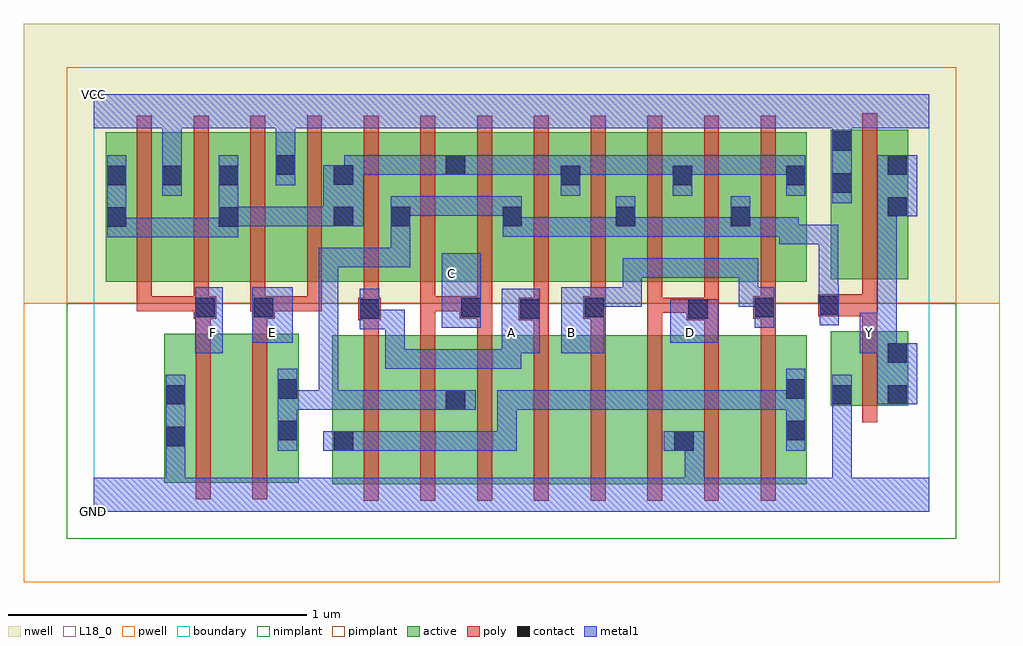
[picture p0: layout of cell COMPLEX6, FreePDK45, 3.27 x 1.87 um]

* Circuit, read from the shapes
.subckt COMPLEX6 A B C D E F GND VCC Y
M1 n1 F GND VSUBS nfet w=0.5u l=0.05u
M2 n2 E n1 VSUBS nfet w=0.5u l=0.05u
M3 n3 A n4 VSUBS nfet w=0.5u l=0.05u
M4 n2 C n3 VSUBS nfet w=0.5u l=0.05u
M5 n5 C n2 VSUBS nfet w=0.5u l=0.05u
M6 n6 A n5 VSUBS nfet w=0.5u l=0.05u
M7 n7 B n6 VSUBS nfet w=0.5u l=0.05u
M8 GND D n7 VSUBS nfet w=0.5u l=0.05u
M9 n8 D GND VSUBS nfet w=0.5u l=0.05u
M10 n4 B n8 VSUBS nfet w=0.5u l=0.05u
M11 Y n2 GND VSUBS nfet w=0.25u l=0.05u
M12 VCC F n9 n10 pfet w=0.5u l=0.05u m=2
M13 VCC E n9 n10 pfet w=0.5u l=0.05u m=2
M14 n2 A n9 n10 pfet w=0.5u l=0.05u m=2
M15 n9 C n2 n10 pfet w=0.5u l=0.05u m=2
M16 n2 B n9 n10 pfet w=0.5u l=0.05u m=2
M17 n9 D n2 n10 pfet w=0.5u l=0.05u m=2
M18 Y n2 VCC n10 pfet w=0.5u l=0.05u
.ends

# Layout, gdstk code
import gdstk
lib = gdstk.Library(unit=1e-6, precision=1e-09)
def R(c, l, rs):  # rectangles x0, y0, x1, y1
    for r in rs: c.add(gdstk.rectangle(r[:2], r[2:], *l))
def A(c, l, x, y, w, h, nx, ny, dx, dy):  # array of equal rectangles
    R(c, l, [(x+i*dx, y+j*dy, x+i*dx+w, y+j*dy+h) for i in range(nx) for j in range(ny)])
active = (1, 0)
pwell = (2, 0)
nwell = (3, 0)
nimplant = (4, 0)
pimplant = (5, 0)
poly = (9, 0)
contact = (10, 0)
metal1 = (11, 0)
L18_0 = (18, 0)
boundary = (235, 0)

complex6 = lib.new_cell('COMPLEX6')
A(complex6, active, 0.99, 0.772, 0.26, 0.5, 3, 1, 0.57, 0)
R(complex6, active, [(0.8,0.092,1.025,0.592), (1.025,0.092,1.25,0.592), (1.175,0.092,1.405,0.592), (1.405,0.092,1.595,0.592), (1.595,0.092,1.785,0.592), (1.785,0.092,2.015,0.592), (1.94,0.092,2.165,0.592), (1.94,0.092,2.015,0.377), (2.165,0.092,2.39,0.592), (0.237,0.097,0.462,0.597), (0.237,0.097,0.312,0.597), (0.462,0.097,0.687,0.597), (0.612,0.145,0.687,0.597), (0.8,0.145,0.905,0.592), (1.175,0.145,1.25,0.577), (2.315,0.145,2.39,0.592), (2.47,0.355,2.545,0.605), (2.47,0.355,2.73,0.605), (2.655,0.355,2.73,0.605), (0.04,0.772,0.3,1.272), (0.04,0.772,0.115,1.2), (0.225,0.772,0.49,1.272), (0.415,0.772,0.49,1.2), (0.415,0.772,0.68,1.272), (0.605,0.772,0.875,1.272), (0.8,0.772,1.065,1.272), (1.175,0.772,1.44,1.272), (1.365,0.772,1.635,1.272), (1.365,0.772,1.44,1.07), (1.745,0.772,2.01,1.272), (1.745,0.772,1.82,1.07), (1.935,0.772,2.205,1.272), (2.315,0.772,2.39,1.2), (2.47,0.78,2.545,1.28), (2.47,0.78,2.73,1.28), (2.655,0.78,2.73,1.2), (0.225,0.807,0.3,1.267), (0.605,0.807,0.68,1.272), (0.8,0.807,0.875,1.2), (0.99,0.807,1.065,1.07), (1.175,0.807,1.25,1.2), (1.56,0.807,1.635,1.2), (1.935,0.807,2.01,1.2), (2.13,0.807,2.205,1.07)])
R(complex6, pwell, [(-0.235,-0.235,3.035,0.7)])
R(complex6, nwell, [(-0.235,0.7,3.035,1.635)])
R(complex6, nimplant, [(-0.09,-0.09,2.89,0.7)])
R(complex6, pimplant, [(-0.09,0.7,2.89,1.49)])
A(complex6, poly, 0.905, 0.037, 0.05, 0.61, 8, 1, 0.19, 0)
A(complex6, poly, 0.905, 0.597, 0.05, 0.095, 3, 1, 0.57, 0)
A(complex6, poly, 0.145, 0.672, 0.05, 0.095, 4, 1, 0.19, 0)
A(complex6, poly, 0.145, 0.717, 0.05, 0.61, 12, 1, 0.19, 0)
R(complex6, poly, [(0.342,0.042,0.392,0.652), (0.532,0.042,0.582,0.652), (2.575,0.3,2.625,0.66), (1.095,0.597,1.145,0.722), (1.285,0.597,1.335,0.697), (1.665,0.597,1.715,0.697), (1.855,0.597,1.905,0.717), (2.235,0.597,2.285,0.697), (0.342,0.602,0.392,0.697), (0.532,0.602,0.582,0.697), (2.575,0.61,2.625,0.705), (0.887,0.642,0.962,0.717), (1.425,0.642,1.525,0.717), (1.987,0.642,2.095,0.717), (0.335,0.647,0.41,0.722), (0.342,0.647,0.392,0.697), (0.342,0.647,0.392,0.697), (0.532,0.647,0.607,0.722), (1.227,0.647,1.335,0.722), (1.285,0.647,1.335,0.697), (1.285,0.647,1.335,0.697), (1.64,0.647,1.715,0.722), (1.665,0.647,1.715,0.697), (1.665,0.647,1.715,0.697), (2.21,0.647,2.285,0.722), (2.235,0.647,2.285,0.697), (2.235,0.647,2.285,0.697), (2.427,0.655,2.625,0.73), (2.575,0.655,2.625,0.705), (2.575,0.655,2.625,0.705), (0.905,0.667,0.955,0.717), (0.905,0.667,0.955,0.717), (0.905,0.667,0.955,0.767), (1.475,0.667,1.525,0.717), (1.475,0.667,1.525,0.717), (1.475,0.667,1.525,0.767), (1.855,0.667,1.905,0.717), (1.855,0.667,1.905,0.717), (1.855,0.667,1.905,0.717), (1.855,0.667,1.905,0.767), (1.855,0.667,2.095,0.717), (2.045,0.667,2.095,0.717), (2.045,0.667,2.095,0.717), (2.045,0.667,2.095,0.717), (2.045,0.667,2.095,0.717), (2.045,0.667,2.095,0.767), (0.145,0.672,0.195,0.722), (0.145,0.672,0.195,0.722), (0.145,0.672,0.195,0.722), (0.145,0.672,0.385,0.722), (0.525,0.672,0.582,0.722), (0.532,0.672,0.582,0.722), (0.532,0.672,0.582,0.722), (0.532,0.672,0.582,0.722), (0.532,0.672,0.765,0.722), (0.715,0.672,0.765,0.722), (1.095,0.672,1.145,0.767), (1.095,0.672,1.145,0.722), (1.095,0.672,1.145,0.722), (1.095,0.672,1.145,0.722), (1.095,0.672,1.277,0.722), (1.227,0.672,1.277,0.722), (1.227,0.672,1.277,0.722), (1.285,0.672,1.335,0.767), (1.665,0.672,1.715,0.767), (2.235,0.672,2.285,0.767), (2.575,0.68,2.625,0.775), (2.575,0.725,2.625,1.335)])
R(complex6, contact, [(0.805,0.205,0.87,0.27), (1.945,0.205,2.01,0.27), (0.242,0.22,0.307,0.285), (0.617,0.24,0.682,0.305), (2.32,0.24,2.385,0.305), (1.18,0.342,1.245,0.407), (0.242,0.36,0.307,0.425), (2.475,0.36,2.54,0.425), (2.66,0.36,2.725,0.425), (0.617,0.38,0.682,0.445), (2.32,0.38,2.385,0.445), (2.66,0.5,2.725,0.565), (0.892,0.647,0.957,0.712), (1.43,0.647,1.495,0.712), (1.992,0.647,2.057,0.712), (0.34,0.652,0.405,0.717), (0.537,0.652,0.602,0.717), (1.232,0.652,1.297,0.717), (1.645,0.652,1.71,0.717), (2.215,0.652,2.28,0.717), (2.432,0.66,2.497,0.725), (0.045,0.955,0.11,1.02), (0.42,0.955,0.485,1.02), (0.805,0.957,0.87,1.022), (0.995,0.957,1.06,1.022), (1.37,0.957,1.435,1.022), (1.75,0.957,1.815,1.022), (2.135,0.957,2.2,1.022), (2.66,0.99,2.725,1.055), (2.475,1.07,2.54,1.135), (0.045,1.095,0.11,1.16), (0.23,1.095,0.295,1.16), (0.42,1.095,0.485,1.16), (1.565,1.095,1.63,1.16), (1.94,1.095,2.005,1.16), (2.32,1.095,2.385,1.16), (0.805,1.097,0.87,1.162), (0.61,1.13,0.675,1.195), (1.18,1.13,1.245,1.195), (2.66,1.13,2.725,1.195), (2.475,1.21,2.54,1.275)])
R(complex6, metal1, [(0,0,2.8,0.115), (0.242,0.05,0.307,0.25), (1.98,0.05,2.045,0.27), (2.475,0.05,2.54,0.39), (0.242,0.185,0.307,0.46), (0.617,0.205,0.682,0.48), (0.77,0.205,0.905,0.27), (0.84,0.205,0.905,0.27), (0.84,0.205,0.905,0.27), (0.84,0.205,1.042,0.27), (0.977,0.205,1.042,0.27), (0.977,0.205,1.095,0.27), (1.03,0.205,1.095,0.27), (1.03,0.205,1.28,0.27), (1.215,0.205,1.28,0.27), (1.215,0.205,1.28,0.27), (1.215,0.205,1.28,0.27), (1.215,0.205,1.417,0.27), (1.352,0.205,1.417,0.27), (1.352,0.205,1.417,0.407), (1.91,0.205,2.045,0.27), (2.32,0.205,2.385,0.48), (2.475,0.325,2.54,0.39), (2.475,0.325,2.54,0.39), (2.475,0.325,2.54,0.39), (2.475,0.325,2.54,0.39), (2.475,0.325,2.54,0.46), (0.617,0.342,0.682,0.407), (0.617,0.342,0.682,0.407), (0.617,0.342,0.82,0.407), (0.755,0.342,0.82,0.407), (0.755,0.342,0.82,0.407), (0.755,0.342,0.82,0.407), (0.755,0.342,0.82,0.407), (0.755,0.342,0.82,0.407), (0.755,0.342,1.042,0.407), (0.755,0.342,0.82,0.885), (0.977,0.342,1.042,0.407), (0.977,0.342,1.095,0.407), (1.03,0.342,1.095,0.407), (1.03,0.342,1.21,0.407), (1.145,0.342,1.28,0.407), (1.352,0.342,1.417,0.407), (1.352,0.342,1.417,0.407), (1.352,0.342,1.417,0.407), (1.352,0.342,1.572,0.407), (1.507,0.342,1.572,0.407), (1.507,0.342,1.572,0.407), (1.507,0.342,1.572,0.407), (1.507,0.342,1.837,0.407), (1.772,0.342,1.837,0.407), (1.772,0.342,1.847,0.407), (1.782,0.342,1.847,0.407), (1.782,0.342,2.062,0.407), (1.997,0.342,2.062,0.407), (1.997,0.342,2.062,0.407), (1.997,0.342,2.062,0.407), (1.997,0.342,2.225,0.407), (2.16,0.342,2.225,0.407), (2.16,0.342,2.225,0.407), (2.16,0.342,2.225,0.407), (2.16,0.342,2.385,0.407), (2.625,0.36,2.76,0.565), (0.977,0.48,1.095,0.545), (0.977,0.48,1.042,0.677), (1.03,0.48,1.095,0.545), (1.03,0.48,1.28,0.545), (1.215,0.48,1.28,0.545), (1.215,0.48,1.28,0.545), (1.215,0.48,1.28,0.545), (1.215,0.48,1.432,0.545), (1.367,0.48,1.432,0.597), (2.625,0.5,2.69,0.597), (0.34,0.532,0.432,0.752), (1.367,0.532,1.432,0.597), (1.367,0.532,1.495,0.747), (1.567,0.532,1.71,0.752), (2.567,0.532,2.69,0.667), (0.532,0.567,0.667,0.752), (1.932,0.567,2.092,0.712), (2.625,0.602,2.69,1.055), (2.625,0.602,2.69,0.667), (2.625,0.602,2.69,0.667), (0.892,0.612,0.957,0.747), (0.892,0.612,1.042,0.677), (1.167,0.617,1.297,0.867), (2.215,0.617,2.28,0.752), (2.432,0.625,2.497,0.76), (1.645,0.687,1.837,0.752), (1.772,0.687,1.837,0.85), (2.162,0.687,2.28,0.752), (2.162,0.687,2.227,0.85), (2.43,0.695,2.495,0.76), (2.43,0.695,2.497,0.76), (2.43,0.695,2.495,0.962), (1.772,0.785,1.847,0.85), (1.782,0.785,1.847,0.85), (1.782,0.785,2.062,0.85), (1.997,0.785,2.062,0.85), (1.997,0.785,2.062,0.85), (1.997,0.785,2.062,0.85), (1.997,0.785,2.227,0.85), (0.755,0.82,0.82,0.885), (0.755,0.82,0.82,0.885), (0.755,0.82,0.82,0.885), (0.755,0.82,1.06,0.885), (0.995,0.82,1.06,0.885), (0.995,0.82,1.06,0.987), (2.297,0.897,2.495,0.962), (2.297,0.897,2.362,0.987), (2.43,0.897,2.495,0.962), (0.045,0.92,0.11,0.985), (0.045,0.92,0.11,0.985), (0.045,0.92,0.11,1.195), (0.045,0.92,0.347,0.985), (0.282,0.92,0.347,0.985), (0.282,0.92,0.347,0.985), (0.282,0.92,0.347,0.985), (0.282,0.92,0.485,0.985), (0.42,0.92,0.485,1.195), (0.995,0.922,1.06,1.057), (1.37,0.922,1.435,0.987), (1.37,0.922,1.435,0.987), (1.37,0.922,1.435,1.057), (1.37,0.922,1.677,0.987), (1.612,0.922,1.677,0.987), (1.612,0.922,1.677,0.987), (1.612,0.922,1.677,0.987), (1.612,0.922,1.815,0.987), (1.75,0.922,1.815,1.057), (1.75,0.922,1.86,0.987), (1.795,0.922,1.86,0.987), (1.795,0.922,2.062,0.987), (1.997,0.922,2.062,0.987), (1.997,0.922,2.062,0.987), (1.997,0.922,2.062,0.987), (1.997,0.922,2.2,0.987), (2.135,0.922,2.2,0.987), (2.135,0.922,2.2,0.987), (2.135,0.922,2.2,1.057), (2.135,0.922,2.362,0.987), (0.42,0.957,0.485,1.022), (0.42,0.957,0.485,1.022), (0.42,0.957,0.622,1.022), (0.557,0.957,0.622,1.022), (0.557,0.957,0.622,1.022), (0.557,0.957,0.622,1.022), (0.557,0.957,0.835,1.022), (0.77,0.957,0.905,1.162), (2.625,0.99,2.76,1.195), (0.995,0.992,1.095,1.057), (1.03,0.992,1.095,1.057), (1.03,0.992,1.28,1.057), (1.215,0.992,1.28,1.057), (1.215,0.992,1.28,1.057), (1.215,0.992,1.28,1.057), (1.215,0.992,1.435,1.057), (2.475,1.035,2.54,1.31), (0.23,1.06,0.295,1.195), (1.565,1.06,1.63,1.195), (1.94,1.06,2.005,1.195), (2.32,1.06,2.385,1.195), (0.61,1.095,0.675,1.23), (0.84,1.097,0.905,1.195), (0.23,1.13,0.295,1.35), (0.84,1.13,0.905,1.195), (0.84,1.13,0.905,1.195), (0.84,1.13,0.905,1.195), (0.84,1.13,1.06,1.195), (0.995,1.13,1.06,1.195), (0.995,1.13,1.095,1.195), (1.03,1.13,1.095,1.195), (1.03,1.13,1.21,1.195), (1.145,1.13,1.28,1.195), (1.215,1.13,1.28,1.195), (1.215,1.13,1.28,1.195), (1.215,1.13,1.417,1.195), (1.352,1.13,1.417,1.195), (1.352,1.13,1.417,1.195), (1.352,1.13,1.417,1.195), (1.352,1.13,1.63,1.195), (1.565,1.13,1.63,1.195), (1.565,1.13,1.63,1.195), (1.565,1.13,1.837,1.195), (1.772,1.13,1.837,1.195), (1.772,1.13,1.847,1.195), (1.782,1.13,1.847,1.195), (1.782,1.13,2.005,1.195), (1.94,1.13,2.005,1.195), (1.94,1.13,2.005,1.195), (1.94,1.13,2.225,1.195), (2.16,1.13,2.225,1.195), (2.16,1.13,2.225,1.195), (2.16,1.13,2.225,1.195), (2.16,1.13,2.385,1.195), (0.61,1.165,0.675,1.35), (2.475,1.245,2.54,1.35), (0,1.285,2.8,1.4)])
R(complex6, L18_0, [(0,0,2.8,0.115), (0.242,0.05,0.307,0.25), (1.98,0.05,2.045,0.27), (2.475,0.05,2.54,0.39), (0.242,0.185,0.307,0.46), (1.91,0.205,2.045,0.27), (2.475,0.325,2.54,0.46), (2.475,0.325,2.54,0.39), (2.475,0.325,2.54,0.39), (2.475,0.325,2.54,0.39), (2.475,0.325,2.54,0.39), (2.625,0.36,2.76,0.565), (0.977,0.48,1.042,0.677), (0.977,0.48,1.095,0.545), (1.03,0.48,1.095,0.545), (1.03,0.48,1.28,0.545), (1.215,0.48,1.28,0.545), (1.215,0.48,1.28,0.545), (1.215,0.48,1.28,0.545), (1.215,0.48,1.432,0.545), (1.367,0.48,1.432,0.597), (2.625,0.5,2.69,0.597), (0.34,0.532,0.432,0.752), (1.367,0.532,1.432,0.597), (1.367,0.532,1.495,0.747), (1.567,0.532,1.71,0.752), (2.567,0.532,2.69,0.667), (0.367,0.567,0.432,0.632), (0.532,0.567,0.667,0.752), (0.567,0.567,0.632,0.632), (1.367,0.567,1.432,0.632), (1.567,0.567,1.632,0.632), (1.932,0.567,2.092,0.712), (1.967,0.567,2.032,0.632), (2.567,0.567,2.632,0.632), (2.625,0.602,2.69,0.667), (2.625,0.602,2.69,0.667), (2.625,0.602,2.69,1.055), (0.892,0.612,0.957,0.747), (0.892,0.612,1.042,0.677), (1.167,0.617,1.297,0.867), (2.215,0.617,2.28,0.752), (1.645,0.687,1.837,0.752), (1.772,0.687,1.837,0.85), (2.162,0.687,2.28,0.752), (2.162,0.687,2.227,0.85), (1.167,0.767,1.232,0.832), (1.772,0.785,1.847,0.85), (1.782,0.785,1.847,0.85), (1.782,0.785,2.062,0.85), (1.997,0.785,2.062,0.85), (1.997,0.785,2.062,0.85), (1.997,0.785,2.062,0.85), (1.997,0.785,2.227,0.85), (2.625,0.99,2.76,1.195), (2.475,1.035,2.54,1.31), (0.23,1.06,0.295,1.195), (0.61,1.095,0.675,1.23), (0.23,1.13,0.295,1.35), (0.61,1.165,0.675,1.35), (2.475,1.245,2.54,1.35), (0,1.285,2.8,1.4)])
R(complex6, boundary, [(0,0,2.8,1.4)])
complex6.add(gdstk.Label('A', (1.4,0.6), layer=11, texttype=0))
complex6.add(gdstk.Label('B', (1.6,0.6), layer=11, texttype=0))
complex6.add(gdstk.Label('C', (1.2,0.8), layer=11, texttype=0))
complex6.add(gdstk.Label('D', (2,0.6), layer=11, texttype=0))
complex6.add(gdstk.Label('E', (0.6,0.6), layer=11, texttype=0))
complex6.add(gdstk.Label('F', (0.4,0.6), layer=11, texttype=0))
complex6.add(gdstk.Label('Y', (2.6,0.6), layer=11, texttype=0))
complex6.add(gdstk.Label('VCC', (0,1.4), layer=11, texttype=0))
complex6.add(gdstk.Label('GND', (0,0), layer=11, texttype=0))

lib.write_gds('COMPLEX6.gds')
